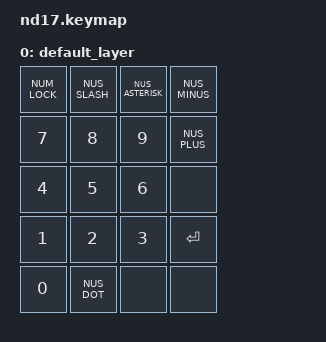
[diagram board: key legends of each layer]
// 定义 5x4 布局宏  
#define LAYOUT_5x4( \
    k00, k01, k02, k03, \
    k10, k11, k12, k13, \
    k20, k21, k22, k23, \
    k30, k31, k32, k33, \
    k40, k41, k42, k43 \
) { \
    { k00, k01, k02, k03 }, \
    { k10, k11, k12, k13 }, \
    { k20, k21, k22, k23 }, \
    { k30, k31, k32, k33 }, \
    { k40, k41, k42, k43 } \
}

/ {
    keymap {
        compatible = "zmk,keymap";
        default_layer {
            bindings = <

                /* 第0行：NumLock, /, *, - */
                &kp NUM_LOCK   &kp NUS_SLASH &kp NUS_ASTERISK &kp NUS_MINUS

                /* 第1行：7, 8, 9, + */
                &kp N7         &kp N8        &kp N9           &kp NUS_PLUS

                /* 第2行：4, 5, 6, (空) */
                &kp N4         &kp N5        &kp N6           &none

                /* 第3行：1, 2, 3, Enter */
                &kp N1         &kp N2        &kp N3           &kp ENTER

                /* 第4行：0, ., (空), (空) */
                &kp N0         &kp NUS_DOT   &none            &none

            >;
        };
    };
};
